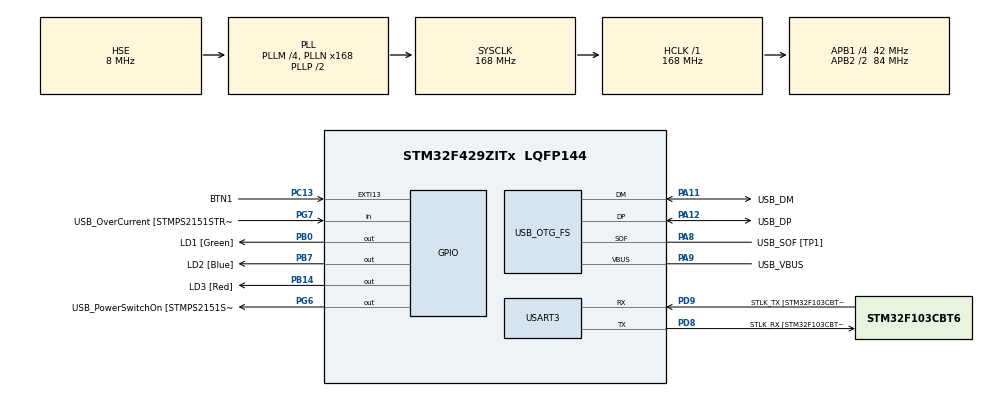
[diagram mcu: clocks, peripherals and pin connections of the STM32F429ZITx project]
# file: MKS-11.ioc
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Mcu.Family=STM32F4
Mcu.Name=STM32F429ZITx
Mcu.Package=LQFP144
NVIC.OTG_FS_IRQn=true\:0\:0\:false\:false\:true\:false\:true\:true
NVIC.PriorityGroup=NVIC_PRIORITYGROUP_4
PA1.GPIO_Label=RMII_REF_CLK [LAN8742A-CZ-TR_REFCLK0]
PA1.Signal=ETH_REF_CLK
PA10.GPIO_Label=USB_ID
PA10.Signal=USB_OTG_FS_ID
PA11.GPIO_Label=USB_DM
PA11.Mode=Device_Only
PA11.Signal=USB_OTG_FS_DM
PA12.GPIO_Label=USB_DP
PA12.Mode=Device_Only
PA12.Signal=USB_OTG_FS_DP
PA13.GPIO_Label=TMS
PA13.Mode=Serial_Wire
PA13.Signal=SYS_JTMS-SWDIO
PA14.GPIO_Label=TCK
PA14.Mode=Serial_Wire
PA14.Signal=SYS_JTCK-SWCLK
PA2.GPIO_Label=RMII_MDIO [LAN8742A-CZ-TR_MDIO]
PA2.Signal=ETH_MDIO
PA7.GPIO_Label=RMII_CRS_DV [LAN8742A-CZ-TR_CRS_DV]
PA7.Signal=ETH_CRS_DV
PA8.GPIO_Label=USB_SOF [TP1]
PA8.Mode=Activate_SOF_FS
PA8.Signal=USB_OTG_FS_SOF
PA9.GPIO_Label=USB_VBUS
PA9.Mode=Activate_VBUS
PA9.Signal=USB_OTG_FS_VBUS
PB0.GPIO_Label=LD1 [Green]
PB0.Signal=GPIO_Output
PB13.GPIO_Label=RMII_TXD1 [LAN8742A-CZ-TR_TXD1]
PB13.Signal=ETH_TXD1
PB14.GPIO_Label=LD3 [Red]
PB14.Signal=GPIO_Output
PB7.GPIO_Label=LD2 [Blue]
PB7.Signal=GPIO_Output
PC1.GPIO_Label=RMII_MDC [LAN8742A-CZ-TR_MDC]
PC1.Signal=ETH_MDC
PC13.GPIO_Label=BTN1
PC13.Signal=GPXTI13
PC14/OSC32_IN.Mode=LSE-External-Oscillator
PC14/OSC32_IN.Signal=RCC_OSC32_IN
PC15/OSC32_OUT.Mode=LSE-External-Oscillator
PC15/OSC32_OUT.Signal=RCC_OSC32_OUT
PC4.GPIO_Label=RMII_RXD0 [LAN8742A-CZ-TR_RXD0]
PC4.Signal=ETH_RXD0
PC5.GPIO_Label=RMII_RXD1 [LAN8742A-CZ-TR_RXD1]
PC5.Signal=ETH_RXD1
PD8.GPIO_Label=STLK_RX [STM32F103CBT6_PA3]
PD8.Mode=Asynchronous
PD8.Signal=USART3_TX
PD9.GPIO_Label=STLK_TX [STM32F103CBT6_PA2]
PD9.Mode=Asynchronous
PD9.Signal=USART3_RX
PG11.GPIO_Label=RMII_TX_EN [LAN8742A-CZ-TR_TXEN]
PG11.Signal=ETH_TX_EN
PG13.GPIO_Label=RMII_TXD0 [LAN8742A-CZ-TR_TXD0]
PG13.Signal=ETH_TXD0
PG6.GPIO_Label=USB_PowerSwitchOn [STMPS2151STR_EN]
PG6.Signal=GPIO_Output
PG7.GPIO_Label=USB_OverCurrent [STMPS2151STR_FAULT]
PG7.Signal=GPIO_Input
PH0/OSC_IN.GPIO_Label=MCO [STM32F103CBT6_PA8]
PH0/OSC_IN.Mode=HSE-External-Clock-Source
PH0/OSC_IN.Signal=RCC_OSC_IN
PH1/OSC_OUT.Mode=HSE-External-Clock-Source
PH1/OSC_OUT.Signal=RCC_OSC_OUT
ProjectManager.HeapSize=0x200
ProjectManager.StackSize=0x400
ProjectManager.TargetToolchain=STM32CubeIDE
RCC.48MHZClocksFreq_Value=48000000
RCC.AHBFreq_Value=168000000
RCC.APB1CLKDivider=RCC_HCLK_DIV4
RCC.APB1Freq_Value=42000000
RCC.APB1TimFreq_Value=84000000
RCC.APB2CLKDivider=RCC_HCLK_DIV2
RCC.APB2Freq_Value=84000000
RCC.APB2TimCLKDivider=2
RCC.APB2TimFreq_Value=168000000
RCC.CortexFreq_Value=168000000
RCC.HCLKFreq_Value=168000000
RCC.HSE_VALUE=8000000
RCC.HSI_VALUE=16000000
RCC.PLLM=4
RCC.PLLMUL=RCC_PLL_MUL9
RCC.PLLN=168
RCC.PLLQ=7
RCC.PRESCALERUSB=RCC_USBCLKSOURCE_PLL_DIV1_5
RCC.SYSCLKFreq_VALUE=168000000
RCC.SYSCLKSource=RCC_SYSCLKSOURCE_PLLCLK
RCC.SYSCLKSourceVirtual=RCC_SYSCLKSOURCE_PLLCLK
RCC.USBFreq_Value=48000000
RCC.VCOOutputFreq_Value=336000000
USART3.VirtualMode=VM_ASYNC
USB_DEVICE.CLASS_NAME_FS=HID
USB_DEVICE.VirtualMode-HID_FS=Hid
USB_DEVICE.VirtualModeFS=Hid_FS
USB_OTG_FS.VirtualMode=Device_Only
VP_USB_DEVICE_VS_USB_DEVICE_HID_FS.Mode=HID_FS
board=NUCLEO-F429ZI

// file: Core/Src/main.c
/* USER CODE BEGIN Header */
/**
  ******************************************************************************
  * @file           : main.c
  * @brief          : Main program body
  ******************************************************************************
  * @attention
  *
  * Copyright (c) 2024 STMicroelectronics.
  * All rights reserved.
  *
  * This software is licensed under terms that can be found in the LICENSE file
  * in the root directory of this software component.
  * If no LICENSE file comes with this software, it is provided AS-IS.
  *
  ******************************************************************************
  */
/* USER CODE END Header */
#include "main.h"
#include "usb_device.h"

/* USER CODE BEGIN Includes */
#include "usbd_hid.h"
#include <math.h>
/* USER CODE END Includes */

/* USER CODE BEGIN PD */
#define BTN_PRESSED 1
#define BTN_RELEASED 0
/* USER CODE END PD */

UART_HandleTypeDef huart3;

/* USER CODE BEGIN PV */
extern USBD_HandleTypeDef hUsbDeviceFS;
/* USER CODE END PV */

void SystemClock_Config(void);
static void MX_GPIO_Init(void);
static void MX_USART3_UART_Init(void);

/* USER CODE BEGIN 0 */
void step(int x, int y, uint8_t btn) {
	uint8_t buff[4];
	buff[0] = 0x00 | btn; // press the left button
	buff[1] = (int8_t)(x); // shift X +10
	buff[2] = (int8_t)(y); // shift Y -3
	buff[3] = 0; // no scroll
	USBD_HID_SendReport(&hUsbDeviceFS, buff, sizeof(buff));
	HAL_Delay(USBD_HID_GetPollingInterval(&hUsbDeviceFS));
}
void move_mouse(int x, int y) {
	step(0,0,0); // Release mouse button
	step(x,y,0); // Move mouse by x and y
}
void draw_line(int x, int y) {
	step(0,0,1); // Press button
	step(x,y,1); // Move mouse by x and y
	step(0,0,0); // Release button
}
void center_mouse() {
	step(0,0,0);
	move_mouse(-1920,-1080);
	move_mouse(1920/2,1080/2);
}
void draw_circle(float radius, int px, int py) {
	float x = 0, y = 0;

	step(px, py, 0);

	for (int i = 0; i <= 360; i++) {
		x = round(radius * cos(i*(M_PI)/180));
		y = round(radius * sin(i*(M_PI)/180));
		step( (int)x, (int)y, 1 );
	}
	step(0,0,0);
}

void draw_semicircle(float radius, int angle) {
	float x = 0, y = 0;

	step(0,0,0);
    // Move at angle 120 degrees
	x = round(radius * cos(angle*(M_PI)/180));
	y = round(radius * sin(angle*(M_PI)/180));
	step( (int)x, (int)y, 1 );
	for (int i = angle; i <= angle+angle; i++) {
		x = round(radius * cos(i*(M_PI)/180));
		y = round(radius * sin(i*(M_PI)/180));
		step( (int)x, (int)y, 1 );
	}
	step(0,0,0);
}

/* USER CODE END 0 */

int main(void)
{

  /* MCU Configuration--------------------------------------------------------*/

  /* Reset of all peripherals, Initializes the Flash interface and the Systick. */
  HAL_Init();

  /* Configure the system clock */
  SystemClock_Config();

  /* Initialize all configured peripherals */
  MX_GPIO_Init();
  MX_USART3_UART_Init();
  MX_USB_DEVICE_Init();

  /* Infinite loop */
  /* USER CODE BEGIN WHILE */
  while (1)
  {
	  if (HAL_GPIO_ReadPin(BTN1_GPIO_Port, BTN1_Pin)) {
		  draw_circle(6,0,0); // Face contour
		  move_mouse(-50,-200);
		  draw_circle(1,0,0);
		  move_mouse(-400,0);
		  draw_circle(1,0,0);
		  step(0,0,0);
		  move_mouse(200,600);
		  step(0,0,0);
		  draw_line(0,25);
		  move_mouse(-190,50);
		  draw_semicircle(4,120);

		  //step(0,25,BTN_PRESSED);
		  //step(0,50,BTN_PRESSED);
		  //step(0,0,BTN_RELEASED);

	  }
    /* USER CODE END WHILE */

  }
}

void SystemClock_Config(void)
{
  RCC_OscInitTypeDef RCC_OscInitStruct = {0};
  RCC_ClkInitTypeDef RCC_ClkInitStruct = {0};

  /** Configure the main internal regulator output voltage
  */
  __HAL_RCC_PWR_CLK_ENABLE();
  __HAL_PWR_VOLTAGESCALING_CONFIG(PWR_REGULATOR_VOLTAGE_SCALE1);

  /** Initializes the RCC Oscillators according to the specified parameters
  * in the RCC_OscInitTypeDef structure.
  */
  RCC_OscInitStruct.OscillatorType = RCC_OSCILLATORTYPE_HSE;
  RCC_OscInitStruct.HSEState = RCC_HSE_BYPASS;
  RCC_OscInitStruct.PLL.PLLState = RCC_PLL_ON;
  RCC_OscInitStruct.PLL.PLLSource = RCC_PLLSOURCE_HSE;
  RCC_OscInitStruct.PLL.PLLM = 4;
  RCC_OscInitStruct.PLL.PLLN = 168;
  RCC_OscInitStruct.PLL.PLLP = RCC_PLLP_DIV2;
  RCC_OscInitStruct.PLL.PLLQ = 7;
  if (HAL_RCC_OscConfig(&RCC_OscInitStruct) != HAL_OK)
  {
    Error_Handler();
  }

  /** Initializes the CPU, AHB and APB buses clocks
  */
  RCC_ClkInitStruct.ClockType = RCC_CLOCKTYPE_HCLK|RCC_CLOCKTYPE_SYSCLK
                              |RCC_CLOCKTYPE_PCLK1|RCC_CLOCKTYPE_PCLK2;
  RCC_ClkInitStruct.SYSCLKSource = RCC_SYSCLKSOURCE_PLLCLK;
  RCC_ClkInitStruct.AHBCLKDivider = RCC_SYSCLK_DIV1;
  RCC_ClkInitStruct.APB1CLKDivider = RCC_HCLK_DIV4;
  RCC_ClkInitStruct.APB2CLKDivider = RCC_HCLK_DIV2;

  if (HAL_RCC_ClockConfig(&RCC_ClkInitStruct, FLASH_LATENCY_5) != HAL_OK)
  {
    Error_Handler();
  }
}

static void MX_USART3_UART_Init(void)
{

  huart3.Instance = USART3;
  huart3.Init.BaudRate = 115200;
  huart3.Init.WordLength = UART_WORDLENGTH_8B;
  huart3.Init.StopBits = UART_STOPBITS_1;
  huart3.Init.Parity = UART_PARITY_NONE;
  huart3.Init.Mode = UART_MODE_TX_RX;
  huart3.Init.HwFlowCtl = UART_HWCONTROL_NONE;
  huart3.Init.OverSampling = UART_OVERSAMPLING_16;
  if (HAL_UART_Init(&huart3) != HAL_OK)
  {
    Error_Handler();
  }

}

static void MX_GPIO_Init(void)
{
  GPIO_InitTypeDef GPIO_InitStruct = {0};

  /* GPIO Ports Clock Enable */
  __HAL_RCC_GPIOC_CLK_ENABLE();
  __HAL_RCC_GPIOH_CLK_ENABLE();
  __HAL_RCC_GPIOA_CLK_ENABLE();
  __HAL_RCC_GPIOB_CLK_ENABLE();
  __HAL_RCC_GPIOD_CLK_ENABLE();
  __HAL_RCC_GPIOG_CLK_ENABLE();

  /*Configure GPIO pin Output Level */
  HAL_GPIO_WritePin(GPIOB, LD1_Pin|LD3_Pin|LD2_Pin, GPIO_PIN_RESET);

  /*Configure GPIO pin Output Level */
  HAL_GPIO_WritePin(USB_PowerSwitchOn_GPIO_Port, USB_PowerSwitchOn_Pin, GPIO_PIN_RESET);

  /*Configure GPIO pin : BTN1_Pin */
  GPIO_InitStruct.Pin = BTN1_Pin;
  GPIO_InitStruct.Mode = GPIO_MODE_IT_RISING;
  GPIO_InitStruct.Pull = GPIO_NOPULL;
  HAL_GPIO_Init(BTN1_GPIO_Port, &GPIO_InitStruct);

  /*Configure GPIO pins : RMII_MDC_Pin RMII_RXD0_Pin RMII_RXD1_Pin */
  GPIO_InitStruct.Pin = RMII_MDC_Pin|RMII_RXD0_Pin|RMII_RXD1_Pin;
  GPIO_InitStruct.Mode = GPIO_MODE_AF_PP;
  GPIO_InitStruct.Pull = GPIO_NOPULL;
  GPIO_InitStruct.Speed = GPIO_SPEED_FREQ_VERY_HIGH;
  GPIO_InitStruct.Alternate = GPIO_AF11_ETH;
  HAL_GPIO_Init(GPIOC, &GPIO_InitStruct);

  /*Configure GPIO pins : RMII_REF_CLK_Pin RMII_MDIO_Pin RMII_CRS_DV_Pin */
  GPIO_InitStruct.Pin = RMII_REF_CLK_Pin|RMII_MDIO_Pin|RMII_CRS_DV_Pin;
  GPIO_InitStruct.Mode = GPIO_MODE_AF_PP;
  GPIO_InitStruct.Pull = GPIO_NOPULL;
  GPIO_InitStruct.Speed = GPIO_SPEED_FREQ_VERY_HIGH;
  GPIO_InitStruct.Alternate = GPIO_AF11_ETH;
  HAL_GPIO_Init(GPIOA, &GPIO_InitStruct);

  /*Configure GPIO pins : LD1_Pin LD3_Pin LD2_Pin */
  GPIO_InitStruct.Pin = LD1_Pin|LD3_Pin|LD2_Pin;
  GPIO_InitStruct.Mode = GPIO_MODE_OUTPUT_PP;
  GPIO_InitStruct.Pull = GPIO_NOPULL;
  GPIO_InitStruct.Speed = GPIO_SPEED_FREQ_LOW;
  HAL_GPIO_Init(GPIOB, &GPIO_InitStruct);

  /*Configure GPIO pin : RMII_TXD1_Pin */
  GPIO_InitStruct.Pin = RMII_TXD1_Pin;
  GPIO_InitStruct.Mode = GPIO_MODE_AF_PP;
  GPIO_InitStruct.Pull = GPIO_NOPULL;
  GPIO_InitStruct.Speed = GPIO_SPEED_FREQ_VERY_HIGH;
  GPIO_InitStruct.Alternate = GPIO_AF11_ETH;
  HAL_GPIO_Init(RMII_TXD1_GPIO_Port, &GPIO_InitStruct);

  /*Configure GPIO pin : USB_PowerSwitchOn_Pin */
  GPIO_InitStruct.Pin = USB_PowerSwitchOn_Pin;
  GPIO_InitStruct.Mode = GPIO_MODE_OUTPUT_PP;
  GPIO_InitStruct.Pull = GPIO_NOPULL;
  GPIO_InitStruct.Speed = GPIO_SPEED_FREQ_LOW;
  HAL_GPIO_Init(USB_PowerSwitchOn_GPIO_Port, &GPIO_InitStruct);

  /*Configure GPIO pin : USB_OverCurrent_Pin */
  GPIO_InitStruct.Pin = USB_OverCurrent_Pin;
  GPIO_InitStruct.Mode = GPIO_MODE_INPUT;
  GPIO_InitStruct.Pull = GPIO_NOPULL;
  HAL_GPIO_Init(USB_OverCurrent_GPIO_Port, &GPIO_InitStruct);

  /*Configure GPIO pins : RMII_TX_EN_Pin RMII_TXD0_Pin */
  GPIO_InitStruct.Pin = RMII_TX_EN_Pin|RMII_TXD0_Pin;
  GPIO_InitStruct.Mode = GPIO_MODE_AF_PP;
  GPIO_InitStruct.Pull = GPIO_NOPULL;
  GPIO_InitStruct.Speed = GPIO_SPEED_FREQ_VERY_HIGH;
  GPIO_InitStruct.Alternate = GPIO_AF11_ETH;
  HAL_GPIO_Init(GPIOG, &GPIO_InitStruct);

}

void Error_Handler(void)
{
  __disable_irq();
  while (1)
  {
  }
}
